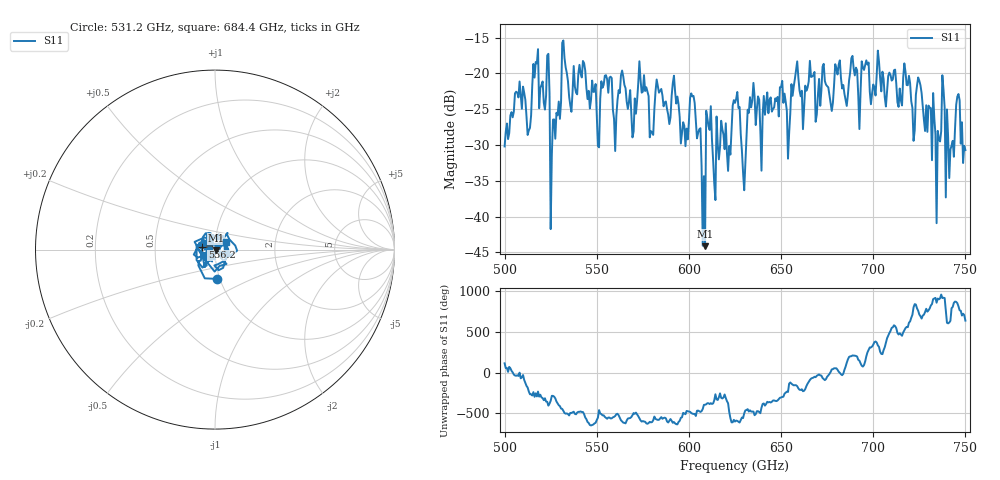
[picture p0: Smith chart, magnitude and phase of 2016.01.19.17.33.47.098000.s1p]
!Created with skrf (http://scikit-rf.org).
# GHz S RI R 50.0
!freq ReS11 ImS11
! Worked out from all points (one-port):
!   401 points, 500 GHz to 750 GHz, reference 50 ohm
!   lowest |S11| = -44.1 dB at 608.8 GHz (marker M1), VSWR 1.01, Z = 50.5 - j0.357 ohm
!   |S11| at or under -10 dB: start of sweep to end of sweep
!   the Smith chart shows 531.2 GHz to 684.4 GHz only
!   S11 on the Smith chart (normalised r, x): 531.2 GHz: 0.97, -0.33; 556.2 GHz: 0.87, +0.03; 684.4 GHz: 1.12, +0.09
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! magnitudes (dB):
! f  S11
! 500 GHz  -30.2
! 506.9 GHz  -22.7
! 513.1 GHz  -28.0
! 516.9 GHz  -18.4
! 523.1 GHz  -17.5
! 526.2 GHz  -26.5
! 531.2 GHz  -15.7
! 550.6 GHz  -30.2
! 556.2 GHz  -22.7
! 560 GHz  -30.8
! 562.5 GHz  -22.7
! 593.8 GHz  -23.2
! 601.9 GHz  -23.2
! 608.8 GHz  -44.1
! 610.6 GHz  -27.4
! 615 GHz  -26.0
! 625 GHz  -24.1
! 630 GHz  -36.3
! 634.4 GHz  -23.8
! 656.2 GHz  -23.1
! 684.4 GHz  -22.9
! 687.5 GHz  -19.8
! 718.8 GHz  -21.7
! 735 GHz  -28.0
! 737.5 GHz  -20.3
! 742.5 GHz  -30.1
! 745.6 GHz  -23.2
! 750 GHz  -30.7
